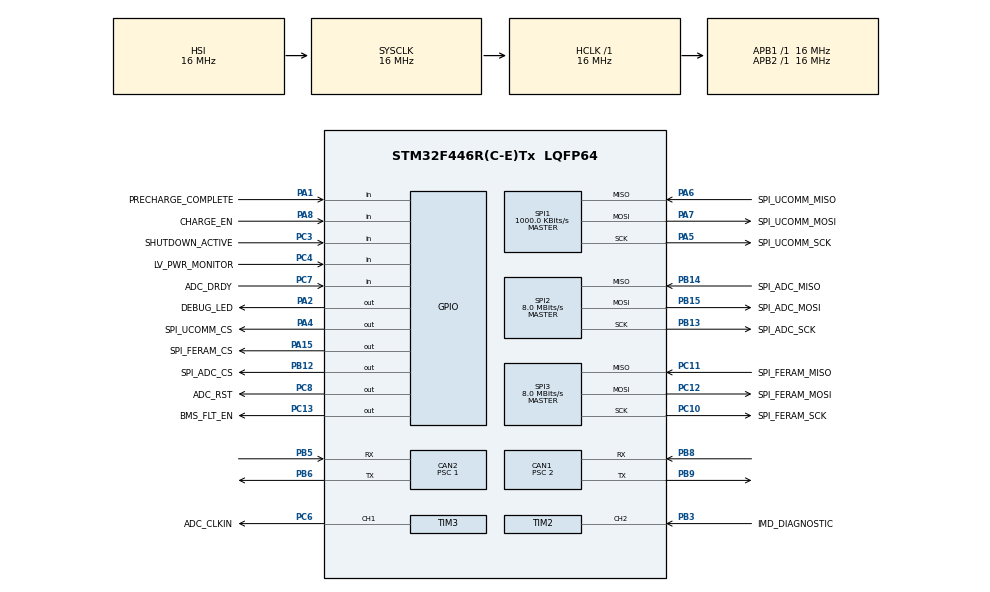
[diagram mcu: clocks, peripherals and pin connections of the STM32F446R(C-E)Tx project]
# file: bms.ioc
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CAN1.ABOM=ENABLE
CAN1.BS1=CAN_BS1_13TQ
CAN1.BS2=CAN_BS2_2TQ
CAN1.CalculateBaudRate=500000
CAN1.CalculateTimeBit=2000
CAN1.CalculateTimeQuantum=125.0
CAN1.Prescaler=2
CAN2.ABOM=ENABLE
CAN2.BS1=CAN_BS1_13TQ
CAN2.BS2=CAN_BS2_2TQ
CAN2.CalculateBaudRate=1000000
CAN2.CalculateTimeBit=1000
CAN2.CalculateTimeQuantum=62.5
CAN2.Prescaler=1
Mcu.Family=STM32F4
Mcu.Name=STM32F446R(C-E)Tx
Mcu.Package=LQFP64
NVIC.CAN1_RX0_IRQn=true\:2\:0\:true\:false\:true\:true\:true\:true
NVIC.PriorityGroup=NVIC_PRIORITYGROUP_4
NVIC.TIM1_UP_TIM10_IRQn=true\:0\:0\:true\:false\:true\:true\:true\:true
NVIC.TIM7_IRQn=true\:1\:0\:true\:false\:true\:true\:true\:true
NVIC.TIM8_UP_TIM13_IRQn=true\:3\:0\:true\:false\:true\:true\:true\:true
PA1.GPIO_Label=PRECHARGE_COMPLETE
PA1.Signal=GPIO_Input
PA13.GPIO_Label=SWDIO_TC
PA13.Mode=Serial_Wire
PA13.Signal=SYS_JTMS-SWDIO
PA14.GPIO_Label=SWCLK_TC
PA14.Mode=Serial_Wire
PA14.Signal=SYS_JTCK-SWCLK
PA15.GPIO_Label=SPI_FERAM_CS
PA15.Signal=GPIO_Output
PA2.GPIO_Label=DEBUG_LED
PA2.GPIO_Speed=GPIO_SPEED_FREQ_VERY_HIGH
PA2.PinState=GPIO_PIN_SET
PA2.Signal=GPIO_Output
PA4.GPIO_Label=SPI_UCOMM_CS
PA4.Signal=GPIO_Output
PA5.GPIO_Label=SPI_UCOMM_SCK
PA5.Mode=Full_Duplex_Master
PA5.Signal=SPI1_SCK
PA6.GPIO_Label=SPI_UCOMM_MISO
PA6.Mode=Full_Duplex_Master
PA6.Signal=SPI1_MISO
PA7.GPIO_Label=SPI_UCOMM_MOSI
PA7.Mode=Full_Duplex_Master
PA7.Signal=SPI1_MOSI
PA8.GPIO_Label=CHARGE_EN
PA8.Signal=GPIO_Input
PB12.GPIO_Label=SPI_ADC_CS
PB12.Signal=GPIO_Output
PB13.GPIO_Label=SPI_ADC_SCK
PB13.Mode=Full_Duplex_Master
PB13.Signal=SPI2_SCK
PB14.GPIO_Label=SPI_ADC_MISO
PB14.Mode=Full_Duplex_Master
PB14.Signal=SPI2_MISO
PB15.GPIO_Label=SPI_ADC_MOSI
PB15.Mode=Full_Duplex_Master
PB15.Signal=SPI2_MOSI
PB3.GPIO_Label=IMD_DIAGNOSTIC
PB3.Signal=S_TIM2_CH2
PB5.Mode=CAN_Activate
PB5.Signal=CAN2_RX
PB6.Mode=CAN_Activate
PB6.Signal=CAN2_TX
PB8.Mode=CAN_Activate
PB8.Signal=CAN1_RX
PB9.Mode=CAN_Activate
PB9.Signal=CAN1_TX
PC10.GPIO_Label=SPI_FERAM_SCK
PC10.Mode=Full_Duplex_Master
PC10.Signal=SPI3_SCK
PC11.GPIO_Label=SPI_FERAM_MISO
PC11.Mode=Full_Duplex_Master
PC11.Signal=SPI3_MISO
PC12.GPIO_Label=SPI_FERAM_MOSI
PC12.Mode=Full_Duplex_Master
PC12.Signal=SPI3_MOSI
PC13.GPIO_Label=BMS_FLT_EN
PC13.Signal=GPIO_Output
PC14-OSC32_IN.GPIO_Label=LSE_IN
PC14-OSC32_IN.Signal=RCC_OSC32_IN
PC15-OSC32_OUT.GPIO_Label=LSE_OUT
PC15-OSC32_OUT.Signal=RCC_OSC32_OUT
PC3.GPIO_Label=SHUTDOWN_ACTIVE
PC3.GPIO_PuPd=GPIO_NOPULL
PC3.Signal=GPIO_Input
PC4.GPIO_Label=LV_PWR_MONITOR
PC4.Signal=GPIO_Input
PC6.GPIO_Label=ADC_CLKIN
PC6.Signal=S_TIM3_CH1
PC7.GPIO_Label=ADC_DRDY
PC7.Signal=GPIO_Input
PC8.GPIO_Label=ADC_RST
PC8.PinState=GPIO_PIN_SET
PC8.Signal=GPIO_Output
PH0-OSC_IN.GPIO_Label=HSE_IN
PH0-OSC_IN.Signal=RCC_OSC_IN
PH1-OSC_OUT.GPIO_Label=HSE_OUT
PH1-OSC_OUT.Signal=RCC_OSC_OUT
ProjectManager.HeapSize=0x200
ProjectManager.StackSize=0x400
ProjectManager.TargetToolchain=STM32CubeIDE
RCC.AHBFreq_Value=16000000
RCC.APB1Freq_Value=16000000
RCC.APB1TimFreq_Value=16000000
RCC.APB2Freq_Value=16000000
RCC.APB2TimFreq_Value=16000000
RCC.CortexFreq_Value=16000000
RCC.HCLKFreq_Value=16000000
RCC.RCC_TIM_PRescaler_Selection=RCC_TIMPRES_DESACTIVATED
RCC.SYSCLKFreq_VALUE=16000000
RCC.USBFreq_Value=96000000
RCC.VCOOutputFreq_Value=192000000
SH.S_TIM2_CH2.0=TIM2_CH2,Input_Capture2_from_TI2
SH.S_TIM3_CH1.0=TIM3_CH1,PWM Generation1 CH1
SPI1.BaudRatePrescaler=SPI_BAUDRATEPRESCALER_16
SPI1.CLKPhase=SPI_PHASE_1EDGE
SPI1.CLKPolarity=SPI_POLARITY_LOW
SPI1.CalculateBaudRate=1000.0 KBits/s
SPI1.Direction=SPI_DIRECTION_2LINES
SPI1.Mode=SPI_MODE_MASTER
SPI1.VirtualType=VM_MASTER
SPI2.BaudRatePrescaler=SPI_BAUDRATEPRESCALER_2
SPI2.CLKPhase=SPI_PHASE_2EDGE
SPI2.CalculateBaudRate=8.0 MBits/s
SPI2.DataSize=SPI_DATASIZE_8BIT
SPI2.Direction=SPI_DIRECTION_2LINES
SPI2.Mode=SPI_MODE_MASTER
SPI2.VirtualType=VM_MASTER
SPI3.BaudRatePrescaler=SPI_BAUDRATEPRESCALER_2
SPI3.CalculateBaudRate=8.0 MBits/s
SPI3.Direction=SPI_DIRECTION_2LINES
SPI3.Mode=SPI_MODE_MASTER
SPI3.VirtualType=VM_MASTER
TIM1.AutoReloadPreload=TIM_AUTORELOAD_PRELOAD_ENABLE
TIM1.Period=62499
TIM1.Prescaler=1
TIM13.Period=64515
TIM13.Prescaler=495
TIM2.Channel-Input_Capture2_from_TI2=TIM_CHANNEL_2
TIM3.Channel-PWM\ Generation1\ CH1=TIM_CHANNEL_1
TIM3.Period=1
TIM3.Pulse-PWM\ Generation1\ CH1=1
TIM7.AutoReloadPreload=TIM_AUTORELOAD_PRELOAD_ENABLE
TIM7.Period=31999
VP_TIM13_VS_ClockSourceINT.Mode=Enable_Timer
VP_TIM1_VS_ClockSourceINT.Mode=Internal
VP_TIM3_VS_ClockSourceINT.Mode=Internal
VP_TIM7_VS_ClockSourceINT.Mode=Enable_Timer
board=custom

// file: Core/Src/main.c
/* USER CODE BEGIN Header */
/**
  ******************************************************************************
  * @file           : main.c
  * @brief          : Main program body
  ******************************************************************************
  * @attention
  *
  * Copyright (c) 2024 STMicroelectronics.
  * All rights reserved.
  *
  * This software is licensed under terms that can be found in the LICENSE file
  * in the root directory of this software component.
  * If no LICENSE file comes with this software, it is provided AS-IS.
  *
  ******************************************************************************
  */
/* USER CODE END Header */
#include "main.h"

/* USER CODE BEGIN Includes */
#include <math.h>
#include <stdbool.h>
#include <stdint.h>

#include "stm32f4xx.h"
#include "stm32f4xx_hal.h"

#include "BMSconfig.h"
#include "Fault.h"
#include "LTC6811.h"
#include "PackCalculations.h"
#include "SPI.h"
#include "isoADC.h"

#include "can_1.h"
#include "can_2.h"
#include "stm32f4xx_hal_can.h"
#include "stm32f4xx_hal_gpio.h"

/* USER CODE END Includes */

/* USER CODE BEGIN PD */
#define CHARGER_OUT_ID 0x405
#define CAN_RX_MAILBOX_SIZE 3

#define CHARGER_IN_ID 0x1806E5F4	// charger CAN ID is 0x1806E5F4
#define CHARGER_INFO_ID 0x700
#define CONSTANT_CAN_ENABLE 0

#define BMS_RX_MSG_ID 0x0300
#define BMS_RX_MSG_MASK 0x0F00

#define BALANCE_EN  0

// STM manual balancing
#define THRESHOLD_BALANCE_EN 0
#define DISCHARGE_THRESHOLD 65535 // well above cell max voltage LOOK AT ACTUAL FUNCTION CALL FOR THRESHOLD SETTING

// CAN Manual Balancing
#define MANUAL_BALANCING_ID 0x381 // TODO

// CAN transmit timeout (ms)
// Assuming a 0% bus load 500kbit/s CAN bus, 5ms would be enough time to send ~23 8 byte CAN messages
// If we hit the 5ms timeout without transmitting any pending messages, we're either at an extremely high bus load
// and losing arbitration or there's some other issue (bus disconnected, no termination, etc.)
#define CAN_TX_TIMEOUT 2

/* USER CODE END PD */

CAN_HandleTypeDef hcan1;
CAN_HandleTypeDef hcan2;

SPI_HandleTypeDef hspi1;
SPI_HandleTypeDef hspi2;
SPI_HandleTypeDef hspi3;

TIM_HandleTypeDef htim1;
TIM_HandleTypeDef htim2;
TIM_HandleTypeDef htim3;
TIM_HandleTypeDef htim7;
TIM_HandleTypeDef htim13;

/* USER CODE BEGIN PV */
SPI_HandleTypeDef *ltc_spi = &hspi1;

CAN_TxHeaderTypeDef tx_header;
volatile CAN_RxHeaderTypeDef rx_header;
uint8_t tx_data[8];
volatile uint8_t rx_data[8] = {0, 0, 0, 0, 0, 0, 0, 0};
uint32_t tx_mailbox;

CAN_TxHeaderTypeDef charger_tx_header;
uint8_t charger_tx_data[8];
uint8_t charge_rate = 2;
uint8_t global_error_count = 0;
uint8_t balance_counter = 0;
uint8_t charging_msg_timeout = 1;

int16_t poll_cell_temps = 0;
int16_t poll_cell_voltages = 0;

bool CHARGE_EN = 0;

CellData bmsData[NUM_CELLS];
static_assert(NUM_CELLS <= 144, "NUM_CELLS must not exceed array size");
uint8_t BMS_STATUS[6];
bool discharge[NUM_BOARDS][12];
bool full_discharge[NUM_BOARDS][12];

volatile manual_balancing_t manual_balancing_config;
volatile bool bmsFault;

SPI_HandleTypeDef* isoADC_SPI_ptr_g = &hspi2;
GPIO_TypeDef* isoADC_SPI_cs_port_ptr_g = SPI_ADC_CS_GPIO_Port;
uint16_t isoADC_SPI_cs_pin_g = GPIO_PIN_12;
TIM_HandleTypeDef* isoADC_PWM_ptr_g = &htim3;
uint32_t isoADC_PWM_ch_g = TIM_CHANNEL_1;
BMS_critical_info_t BMSCriticalInfo;
uint8_t isoADC_rdy_status = 0, isoADC_period_miss = 0, max_isoADC_period = 0;
uint32_t cell_volt_timing = 0, cell_temp_timing = 0, volt_start_time = 0, temp_start_time = 0;

volatile bool pollingFlag = false;
volatile uint8_t new_balance_msg = 0, can_tx_phase = 0;
volatile uint8_t balancing_data_array[8];

uint32_t prevTime = 0, timeBetween = 0;
int32_t fault_timer = 2000;
uint8_t error_cnt = 0, error_voltage_read_count = 0, error_temp_read_count = 0;

float live_pack_voltage = 0, live_pack_current = 0;
bool live_precharge = false;

/* USER CODE END PV */

void SystemClock_Config(void);
static void MX_GPIO_Init(void);
static void MX_CAN1_Init(void);
static void MX_SPI1_Init(void);
static void MX_SPI2_Init(void);
static void MX_SPI3_Init(void);
static void MX_TIM2_Init(void);
static void MX_TIM3_Init(void);
static void MX_CAN2_Init(void);
static void MX_TIM1_Init(void);
static void MX_TIM7_Init(void);
static void MX_TIM13_Init(void);
/* USER CODE BEGIN PFP */
static bool transmit_can_message(CAN_HandleTypeDef* hcan, const CAN_TxHeaderTypeDef *tx_header, const uint8_t msg_data[]);
static void transmit_cell_data_msg(CellData const bmsData[NUM_CELLS]);
static void transmit_bms_status_msg(BMS_critical_info_t const *bms, uint8_t const bmsStatus[6]);
static void transmit_cell_vlt_msg(BMS_critical_info_t const *bms);
static void transmit_cell_temp_msg(BMS_critical_info_t const *bms);
// void PACKSTAT_message(BMSConfigStructTypedef cfg, BMS_critical_info_t bms, uint8_t bmsData[NUM_CELLS][6]); // old method
// static void PACKSTAT_message(BMS_critical_info_t const *bms); // draft :D

// Manual Charging/Balancing Functions
void CHARGER_message();
void resetChargerVariables();
void process_balancing_msg();
/* USER CODE END PFP */

int main(void)
{

  /* MCU Configuration--------------------------------------------------------*/

  /* Reset of all peripherals, Initializes the Flash interface and the Systick. */
  HAL_Init();

  /* USER CODE BEGIN Init */
    BMSConfigStructTypedef BMSConfig;

  /* USER CODE END Init */

  /* Configure the system clock */
  SystemClock_Config();

  /* Initialize all configured peripherals */
  MX_GPIO_Init();
  MX_CAN1_Init();
  MX_SPI1_Init();
  MX_SPI2_Init();
  MX_SPI3_Init();
  MX_TIM2_Init();
  MX_TIM3_Init();
  MX_CAN2_Init();
  MX_TIM1_Init();
  MX_TIM7_Init();
  MX_TIM13_Init();
  /* USER CODE BEGIN 2 */
    initPECTable();
    loadConfig(&BMSConfig);
    init_BMS_info(&BMSCriticalInfo);
    resetChargerVariables();

    // wake up isoADC
    HAL_GPIO_WritePin(DEBUG_LED_GPIO_Port, DEBUG_LED_Pin, GPIO_PIN_RESET);
    isoADC_rdy_status = wakeup_isoADC(&gIsoADCConfig, &gIsoADCData);

    // turn on timer interrupt for isoADC 128Hz
    HAL_TIM_Base_Start_IT(&htim1);
    // Sending CAN messages
    HAL_TIM_Base_Start_IT(&htim7);
    // Sending cell polling message
    HAL_TIM_Base_Start_IT(&htim13);

  /* USER CODE END 2 */

  /* Infinite loop */
    while (1)
    {

    /* USER CODE BEGIN 3 */

        /** FUNCTION CALL OVERVIEW
         * First: Call read6811 -> Voltages, Temps on 6811
         * Second: Check for Faults
         * Third: Call balancing algorithm
         * Fourth : Remaining CAN messages
         * Last: :3
         */
    	if (poll_cell_voltages <= 0){
    		poll_cell_voltages = 1000;
    		volt_start_time = HAL_GetTick();

    		for (int i = 0; i < NUM_BOARDS; i++){
				poll_single_secondary_voltage_reading((uint8_t) i, &BMSConfig, bmsData);
			}
			cell_volt_timing = HAL_GetTick() - volt_start_time;

			setCriticalVoltages(&BMSCriticalInfo, bmsData);

			DISABLE_ALL_CAN_IRQS
			bmsFault = FAULT_check(&BMSCriticalInfo, BMS_STATUS);
			ENABLE_ALL_CAN_IRQS

			// check voltage faults
			bool overvoltage_fault	= ((BMS_STATUS[0] & 0x01) == 0x01);
			bool undervoltage_fault = ((BMS_STATUS[0] & 0x02) == 0x02);

			if((overvoltage_fault == true) || (undervoltage_fault == true)){
				error_voltage_read_count++;
			}

    	}

        // Read all Temps from LTC6811, store them in 144x6 array,
        // set the critical info struct, then send temp info over CAN
    	if (poll_cell_temps <= 0){
    		poll_cell_temps = 2500;
    		temp_start_time = HAL_GetTick();

    	for (int i = 0; i < NUM_BOARDS; i++){
    		poll_single_secondary_temp_reading((uint8_t) i, &BMSConfig, bmsData);
    	}
			cell_temp_timing = HAL_GetTick() - temp_start_time;
			setCriticalTemps(&BMSCriticalInfo, bmsData);

			DISABLE_ALL_CAN_IRQS
			bmsFault = FAULT_check(&BMSCriticalInfo, BMS_STATUS);
			ENABLE_ALL_CAN_IRQS

			// check temperature faults
			bool overtemp_fault		= ((BMS_STATUS[0] & 0x04) == 0x04);
			bool undertemp_fault	= ((BMS_STATUS[0] & 0x08) == 0x08);

			if((overtemp_fault == true) || (undertemp_fault == true)){
				error_temp_read_count++;
			}
		}

       // Check Precharge Complete Pin
       manual_balancing_config.precharge_cplt = !(HAL_GPIO_ReadPin(PRECHARGE_COMPLETE_GPIO_Port, PRECHARGE_COMPLETE_Pin));
       live_precharge = manual_balancing_config.precharge_cplt;
       DISABLE_ALL_CAN_IRQS

	   /* DO THIS WHEN TESTING BMS FAULTS*/
	   //*NOTE* : need to figure out which pin is the BMS fault pin
	   bmsFault = FAULT_check(&BMSCriticalInfo, BMS_STATUS);
       if (bmsFault == false) {
    	   global_error_count = 0;
    	   fault_timer = 2000;
    	   error_temp_read_count = 0;
    	   error_voltage_read_count = 0;
    	   HAL_GPIO_WritePin(BMS_FLT_EN_GPIO_Port, BMS_FLT_EN_Pin, GPIO_PIN_RESET);
       }
       else {
    	   global_error_count++;
    	   if ((error_temp_read_count >= 2) || (error_voltage_read_count >= 2)){
    		   HAL_GPIO_WritePin(BMS_FLT_EN_GPIO_Port, BMS_FLT_EN_Pin, GPIO_PIN_SET);
    		   error_temp_read_count = 2;
    		   error_voltage_read_count = 2;
    	   }
       }

        BMSCriticalInfo.isoAdcPackVoltage = (float)gIsoADCData.bus_voltage;
        BMSCriticalInfo.packCurrent = (float)gIsoADCData.shunt_current;
        ENABLE_ALL_CAN_IRQS
    	DISABLE_CAN1_RX_FIF0_IRQ;
        if(new_balance_msg == true){
        	process_balancing_msg();
        	new_balance_msg = 0;
        }
    	ENABLE_CAN1_RX_FIF0_IRQ;

    	/* Discharge cells if:
    	 * charge message is valid
    	 * AND discharge is enabled
    	 * AND precharge is complete (contactors are closed)
    	 * AND there is no BMS fault
    	 */
        if((manual_balancing_config.valid_charge_message == true) &&
			(manual_balancing_config.discharge_balance_en == true) &&
			(manual_balancing_config.precharge_cplt == true) &&
			(bmsFault == false)) {

            thresholdBalance(&BMSConfig, &BMSCriticalInfo, bmsData, discharge, manual_balancing_config.discharge_threshold_voltage, manual_balancing_config.num_cells_discharged_per_secondary);

            dischargeCellGroups(&BMSConfig, discharge);
            HAL_Delay(BMSConfig.dischargeTime);

            dischargeCellGroups(&BMSConfig, discharge);
            HAL_Delay(BMSConfig.dischargeTime);
        }
        else {
        	thresholdBalance(&BMSConfig, &BMSCriticalInfo, bmsData, discharge, 43000, 0);	// default to an "off" state, cells should never go this high
        }

        // stop messages from being sent if no message has been sent in 2 seconds
        if (charging_msg_timeout == 1) {
        	resetChargerVariables();
        }

    }

  /* USER CODE END 3 */
}

void SystemClock_Config(void)
{
  RCC_OscInitTypeDef RCC_OscInitStruct = {0};
  RCC_ClkInitTypeDef RCC_ClkInitStruct = {0};

  /** Configure the main internal regulator output voltage
  */
  __HAL_RCC_PWR_CLK_ENABLE();
  __HAL_PWR_VOLTAGESCALING_CONFIG(PWR_REGULATOR_VOLTAGE_SCALE3);

  /** Initializes the RCC Oscillators according to the specified parameters
  * in the RCC_OscInitTypeDef structure.
  */
  RCC_OscInitStruct.OscillatorType = RCC_OSCILLATORTYPE_HSI;
  RCC_OscInitStruct.HSIState = RCC_HSI_ON;
  RCC_OscInitStruct.HSICalibrationValue = RCC_HSICALIBRATION_DEFAULT;
  RCC_OscInitStruct.PLL.PLLState = RCC_PLL_NONE;
  if (HAL_RCC_OscConfig(&RCC_OscInitStruct) != HAL_OK)
  {
    Error_Handler();
  }

  /** Initializes the CPU, AHB and APB buses clocks
  */
  RCC_ClkInitStruct.ClockType = RCC_CLOCKTYPE_HCLK|RCC_CLOCKTYPE_SYSCLK
                              |RCC_CLOCKTYPE_PCLK1|RCC_CLOCKTYPE_PCLK2;
  RCC_ClkInitStruct.SYSCLKSource = RCC_SYSCLKSOURCE_HSI;
  RCC_ClkInitStruct.AHBCLKDivider = RCC_SYSCLK_DIV1;
  RCC_ClkInitStruct.APB1CLKDivider = RCC_HCLK_DIV1;
  RCC_ClkInitStruct.APB2CLKDivider = RCC_HCLK_DIV1;

  if (HAL_RCC_ClockConfig(&RCC_ClkInitStruct, FLASH_LATENCY_0) != HAL_OK)
  {
    Error_Handler();
  }
}

static void MX_CAN1_Init(void)
{

  hcan1.Instance = CAN1;
  hcan1.Init.Prescaler = 2;
  hcan1.Init.Mode = CAN_MODE_NORMAL;
  hcan1.Init.SyncJumpWidth = CAN_SJW_1TQ;
  hcan1.Init.TimeSeg1 = CAN_BS1_13TQ;
  hcan1.Init.TimeSeg2 = CAN_BS2_2TQ;
  hcan1.Init.TimeTriggeredMode = DISABLE;
  hcan1.Init.AutoBusOff = ENABLE;
  hcan1.Init.AutoWakeUp = DISABLE;
  hcan1.Init.AutoRetransmission = DISABLE;
  hcan1.Init.ReceiveFifoLocked = DISABLE;
  hcan1.Init.TransmitFifoPriority = DISABLE;
  if (HAL_CAN_Init(&hcan1) != HAL_OK)
  {
    Error_Handler();
  }
  /* USER CODE BEGIN CAN1_Init 2 */

	CAN_FilterTypeDef  sFilterConfig;
	sFilterConfig.FilterBank = 0;
	sFilterConfig.FilterMode = CAN_FILTERMODE_IDMASK;
	sFilterConfig.FilterScale = CAN_FILTERSCALE_16BIT;
	sFilterConfig.FilterIdHigh = BMS_RX_MSG_ID;
	sFilterConfig.FilterIdLow = 0xFFFF;
	sFilterConfig.FilterMaskIdHigh = BMS_RX_MSG_MASK;
	sFilterConfig.FilterMaskIdLow = 0x0000; // (any uint16_t) & 0x0000 != 0xFFFF
	sFilterConfig.FilterFIFOAssignment = CAN_FILTER_FIFO0;
	sFilterConfig.FilterActivation = ENABLE;
	sFilterConfig.SlaveStartFilterBank = 14;

	if (HAL_CAN_ConfigFilter(&hcan1, &sFilterConfig) != HAL_OK)
	{
	  /* Filter configuration Error */
	  Error_Handler();
	}

  if (HAL_CAN_Start(&hcan1) != HAL_OK)
  {
	/* Start Error */
	Error_Handler();
  }

  // This ties the interupt to the rx_fifo0 msg bufer
  if (HAL_CAN_ActivateNotification(&hcan1, CAN_IT_RX_FIFO0_MSG_PENDING) != HAL_OK)
   {
     Error_Handler();
   }
  /* USER CODE END CAN1_Init 2 */

}

static void MX_CAN2_Init(void)
{

  hcan2.Instance = CAN2;
  hcan2.Init.Prescaler = 1;
  hcan2.Init.Mode = CAN_MODE_NORMAL;
  hcan2.Init.SyncJumpWidth = CAN_SJW_1TQ;
  hcan2.Init.TimeSeg1 = CAN_BS1_13TQ;
  hcan2.Init.TimeSeg2 = CAN_BS2_2TQ;
  hcan2.Init.TimeTriggeredMode = DISABLE;
  hcan2.Init.AutoBusOff = ENABLE;
  hcan2.Init.AutoWakeUp = DISABLE;
  hcan2.Init.AutoRetransmission = DISABLE;
  hcan2.Init.ReceiveFifoLocked = DISABLE;
  hcan2.Init.TransmitFifoPriority = DISABLE;
  if (HAL_CAN_Init(&hcan2) != HAL_OK)
  {
    Error_Handler();
  }

}

static void MX_SPI1_Init(void)
{

  /* SPI1 parameter configuration*/
  hspi1.Instance = SPI1;
  hspi1.Init.Mode = SPI_MODE_MASTER;
  hspi1.Init.Direction = SPI_DIRECTION_2LINES;
  hspi1.Init.DataSize = SPI_DATASIZE_8BIT;
  hspi1.Init.CLKPolarity = SPI_POLARITY_LOW;
  hspi1.Init.CLKPhase = SPI_PHASE_1EDGE;
  hspi1.Init.NSS = SPI_NSS_SOFT;
  hspi1.Init.BaudRatePrescaler = SPI_BAUDRATEPRESCALER_16;
  hspi1.Init.FirstBit = SPI_FIRSTBIT_MSB;
  hspi1.Init.TIMode = SPI_TIMODE_DISABLE;
  hspi1.Init.CRCCalculation = SPI_CRCCALCULATION_DISABLE;
  hspi1.Init.CRCPolynomial = 10;
  if (HAL_SPI_Init(&hspi1) != HAL_OK)
  {
    Error_Handler();
  }

}

static void MX_SPI2_Init(void)
{

  /* SPI2 parameter configuration*/
  hspi2.Instance = SPI2;
  hspi2.Init.Mode = SPI_MODE_MASTER;
  hspi2.Init.Direction = SPI_DIRECTION_2LINES;
  hspi2.Init.DataSize = SPI_DATASIZE_8BIT;
  hspi2.Init.CLKPolarity = SPI_POLARITY_LOW;
  hspi2.Init.CLKPhase = SPI_PHASE_2EDGE;
  hspi2.Init.NSS = SPI_NSS_SOFT;
  hspi2.Init.BaudRatePrescaler = SPI_BAUDRATEPRESCALER_2;
  hspi2.Init.FirstBit = SPI_FIRSTBIT_MSB;
  hspi2.Init.TIMode = SPI_TIMODE_DISABLE;
  hspi2.Init.CRCCalculation = SPI_CRCCALCULATION_DISABLE;
  hspi2.Init.CRCPolynomial = 10;
  if (HAL_SPI_Init(&hspi2) != HAL_OK)
  {
    Error_Handler();
  }

}

static void MX_SPI3_Init(void)
{

  /* SPI3 parameter configuration*/
  hspi3.Instance = SPI3;
  hspi3.Init.Mode = SPI_MODE_MASTER;
  hspi3.Init.Direction = SPI_DIRECTION_2LINES;
  hspi3.Init.DataSize = SPI_DATASIZE_8BIT;
  hspi3.Init.CLKPolarity = SPI_POLARITY_LOW;
  hspi3.Init.CLKPhase = SPI_PHASE_1EDGE;
  hspi3.Init.NSS = SPI_NSS_SOFT;
  hspi3.Init.BaudRatePrescaler = SPI_BAUDRATEPRESCALER_2;
  hspi3.Init.FirstBit = SPI_FIRSTBIT_MSB;
  hspi3.Init.TIMode = SPI_TIMODE_DISABLE;
  hspi3.Init.CRCCalculation = SPI_CRCCALCULATION_DISABLE;
  hspi3.Init.CRCPolynomial = 10;
  if (HAL_SPI_Init(&hspi3) != HAL_OK)
  {
    Error_Handler();
  }

}

static void MX_TIM1_Init(void)
{

  TIM_ClockConfigTypeDef sClockSourceConfig = {0};
  TIM_MasterConfigTypeDef sMasterConfig = {0};

  htim1.Instance = TIM1;
  htim1.Init.Prescaler = 1;
  htim1.Init.CounterMode = TIM_COUNTERMODE_UP;
  htim1.Init.Period = 62499;
  htim1.Init.ClockDivision = TIM_CLOCKDIVISION_DIV1;
  htim1.Init.RepetitionCounter = 0;
  htim1.Init.AutoReloadPreload = TIM_AUTORELOAD_PRELOAD_ENABLE;
  if (HAL_TIM_Base_Init(&htim1) != HAL_OK)
  {
    Error_Handler();
  }
  sClockSourceConfig.ClockSource = TIM_CLOCKSOURCE_INTERNAL;
  if (HAL_TIM_ConfigClockSource(&htim1, &sClockSourceConfig) != HAL_OK)
  {
    Error_Handler();
  }
  sMasterConfig.MasterOutputTrigger = TIM_TRGO_RESET;
  sMasterConfig.MasterSlaveMode = TIM_MASTERSLAVEMODE_DISABLE;
  if (HAL_TIMEx_MasterConfigSynchronization(&htim1, &sMasterConfig) != HAL_OK)
  {
    Error_Handler();
  }

}

static void MX_TIM2_Init(void)
{

  TIM_MasterConfigTypeDef sMasterConfig = {0};
  TIM_IC_InitTypeDef sConfigIC = {0};

  htim2.Instance = TIM2;
  htim2.Init.Prescaler = 0;
  htim2.Init.CounterMode = TIM_COUNTERMODE_UP;
  htim2.Init.Period = 4294967295;
  htim2.Init.ClockDivision = TIM_CLOCKDIVISION_DIV1;
  htim2.Init.AutoReloadPreload = TIM_AUTORELOAD_PRELOAD_DISABLE;
  if (HAL_TIM_IC_Init(&htim2) != HAL_OK)
  {
    Error_Handler();
  }
  sMasterConfig.MasterOutputTrigger = TIM_TRGO_RESET;
  sMasterConfig.MasterSlaveMode = TIM_MASTERSLAVEMODE_DISABLE;
  if (HAL_TIMEx_MasterConfigSynchronization(&htim2, &sMasterConfig) != HAL_OK)
  {
    Error_Handler();
  }
  sConfigIC.ICPolarity = TIM_INPUTCHANNELPOLARITY_RISING;
  sConfigIC.ICSelection = TIM_ICSELECTION_DIRECTTI;
  sConfigIC.ICPrescaler = TIM_ICPSC_DIV1;
  sConfigIC.ICFilter = 0;
  if (HAL_TIM_IC_ConfigChannel(&htim2, &sConfigIC, TIM_CHANNEL_2) != HAL_OK)
  {
    Error_Handler();
  }

}

static void MX_TIM3_Init(void)
{

  TIM_ClockConfigTypeDef sClockSourceConfig = {0};
  TIM_MasterConfigTypeDef sMasterConfig = {0};
  TIM_OC_InitTypeDef sConfigOC = {0};

  htim3.Instance = TIM3;
  htim3.Init.Prescaler = 0;
  htim3.Init.CounterMode = TIM_COUNTERMODE_UP;
  htim3.Init.Period = 1;
  htim3.Init.ClockDivision = TIM_CLOCKDIVISION_DIV1;
  htim3.Init.AutoReloadPreload = TIM_AUTORELOAD_PRELOAD_DISABLE;
  if (HAL_TIM_Base_Init(&htim3) != HAL_OK)
  {
    Error_Handler();
  }
  sClockSourceConfig.ClockSource = TIM_CLOCKSOURCE_INTERNAL;
  if (HAL_TIM_ConfigClockSource(&htim3, &sClockSourceConfig) != HAL_OK)
  {
    Error_Handler();
  }
  if (HAL_TIM_PWM_Init(&htim3) != HAL_OK)
  {
    Error_Handler();
  }
  sMasterConfig.MasterOutputTrigger = TIM_TRGO_RESET;
  sMasterConfig.MasterSlaveMode = TIM_MASTERSLAVEMODE_DISABLE;
  if (HAL_TIMEx_MasterConfigSynchronization(&htim3, &sMasterConfig) != HAL_OK)
  {
    Error_Handler();
  }
  sConfigOC.OCMode = TIM_OCMODE_PWM1;
  sConfigOC.Pulse = 1;
  sConfigOC.OCPolarity = TIM_OCPOLARITY_HIGH;
  sConfigOC.OCFastMode = TIM_OCFAST_DISABLE;
  if (HAL_TIM_PWM_ConfigChannel(&htim3, &sConfigOC, TIM_CHANNEL_1) != HAL_OK)
  {
    Error_Handler();
  }
  HAL_TIM_MspPostInit(&htim3);

}

static void MX_TIM7_Init(void)
{

  TIM_MasterConfigTypeDef sMasterConfig = {0};

  htim7.Instance = TIM7;
  htim7.Init.Prescaler = 0;
  htim7.Init.CounterMode = TIM_COUNTERMODE_UP;
  htim7.Init.Period = 31999;
  htim7.Init.AutoReloadPreload = TIM_AUTORELOAD_PRELOAD_ENABLE;
  if (HAL_TIM_Base_Init(&htim7) != HAL_OK)
  {
    Error_Handler();
  }
  sMasterConfig.MasterOutputTrigger = TIM_TRGO_RESET;
  sMasterConfig.MasterSlaveMode = TIM_MASTERSLAVEMODE_DISABLE;
  if (HAL_TIMEx_MasterConfigSynchronization(&htim7, &sMasterConfig) != HAL_OK)
  {
    Error_Handler();
  }

}

static void MX_TIM13_Init(void)
{

  htim13.Instance = TIM13;
  htim13.Init.Prescaler = 495;
  htim13.Init.CounterMode = TIM_COUNTERMODE_UP;
  htim13.Init.Period = 64515;
  htim13.Init.ClockDivision = TIM_CLOCKDIVISION_DIV1;
  htim13.Init.AutoReloadPreload = TIM_AUTORELOAD_PRELOAD_DISABLE;
  if (HAL_TIM_Base_Init(&htim13) != HAL_OK)
  {
    Error_Handler();
  }

}

static void MX_GPIO_Init(void)
{
  GPIO_InitTypeDef GPIO_InitStruct = {0};

  /* GPIO Ports Clock Enable */
  __HAL_RCC_GPIOC_CLK_ENABLE();
  __HAL_RCC_GPIOH_CLK_ENABLE();
  __HAL_RCC_GPIOA_CLK_ENABLE();
  __HAL_RCC_GPIOB_CLK_ENABLE();

  /*Configure GPIO pin Output Level */
  HAL_GPIO_WritePin(BMS_FLT_EN_GPIO_Port, BMS_FLT_EN_Pin, GPIO_PIN_RESET);

  /*Configure GPIO pin Output Level */
  HAL_GPIO_WritePin(DEBUG_LED_GPIO_Port, DEBUG_LED_Pin, GPIO_PIN_SET);

  /*Configure GPIO pin Output Level */
  HAL_GPIO_WritePin(GPIOA, SPI_UCOMM_CS_Pin|SPI_FERAM_CS_Pin, GPIO_PIN_RESET);

  /*Configure GPIO pin Output Level */
  HAL_GPIO_WritePin(SPI_ADC_CS_GPIO_Port, SPI_ADC_CS_Pin, GPIO_PIN_RESET);

  /*Configure GPIO pin Output Level */
  HAL_GPIO_WritePin(ADC_RST_GPIO_Port, ADC_RST_Pin, GPIO_PIN_SET);

  /*Configure GPIO pins : BMS_FLT_EN_Pin ADC_RST_Pin */
  GPIO_InitStruct.Pin = BMS_FLT_EN_Pin|ADC_RST_Pin;
  GPIO_InitStruct.Mode = GPIO_MODE_OUTPUT_PP;
  GPIO_InitStruct.Pull = GPIO_NOPULL;
  GPIO_InitStruct.Speed = GPIO_SPEED_FREQ_LOW;
  HAL_GPIO_Init(GPIOC, &GPIO_InitStruct);

  /*Configure GPIO pins : SHUTDOWN_ACTIVE_Pin LV_PWR_MONITOR_Pin ADC_DRDY_Pin */
  GPIO_InitStruct.Pin = SHUTDOWN_ACTIVE_Pin|LV_PWR_MONITOR_Pin|ADC_DRDY_Pin;
  GPIO_InitStruct.Mode = GPIO_MODE_INPUT;
  GPIO_InitStruct.Pull = GPIO_NOPULL;
  HAL_GPIO_Init(GPIOC, &GPIO_InitStruct);

  /*Configure GPIO pin : PRECHARGE_COMPLETE_Pin */
  GPIO_InitStruct.Pin = PRECHARGE_COMPLETE_Pin;
  GPIO_InitStruct.Mode = GPIO_MODE_INPUT;
  GPIO_InitStruct.Pull = GPIO_PULLUP;
  HAL_GPIO_Init(PRECHARGE_COMPLETE_GPIO_Port, &GPIO_InitStruct);

  /*Configure GPIO pin : DEBUG_LED_Pin */
  GPIO_InitStruct.Pin = DEBUG_LED_Pin;
  GPIO_InitStruct.Mode = GPIO_MODE_OUTPUT_PP;
  GPIO_InitStruct.Pull = GPIO_NOPULL;
  GPIO_InitStruct.Speed = GPIO_SPEED_FREQ_VERY_HIGH;
  HAL_GPIO_Init(DEBUG_LED_GPIO_Port, &GPIO_InitStruct);

  /*Configure GPIO pins : SPI_UCOMM_CS_Pin SPI_FERAM_CS_Pin */
  GPIO_InitStruct.Pin = SPI_UCOMM_CS_Pin|SPI_FERAM_CS_Pin;
  GPIO_InitStruct.Mode = GPIO_MODE_OUTPUT_PP;
  GPIO_InitStruct.Pull = GPIO_NOPULL;
  GPIO_InitStruct.Speed = GPIO_SPEED_FREQ_LOW;
  HAL_GPIO_Init(GPIOA, &GPIO_InitStruct);

  /*Configure GPIO pin : SPI_ADC_CS_Pin */
  GPIO_InitStruct.Pin = SPI_ADC_CS_Pin;
  GPIO_InitStruct.Mode = GPIO_MODE_OUTPUT_PP;
  GPIO_InitStruct.Pull = GPIO_NOPULL;
  GPIO_InitStruct.Speed = GPIO_SPEED_FREQ_LOW;
  HAL_GPIO_Init(SPI_ADC_CS_GPIO_Port, &GPIO_InitStruct);

  /*Configure GPIO pin : CHARGE_EN_Pin */
  GPIO_InitStruct.Pin = CHARGE_EN_Pin;
  GPIO_InitStruct.Mode = GPIO_MODE_INPUT;
  GPIO_InitStruct.Pull = GPIO_NOPULL;
  HAL_GPIO_Init(CHARGE_EN_GPIO_Port, &GPIO_InitStruct);

}

/* USER CODE BEGIN 4 */
void HAL_CAN_RxFifo0MsgPendingCallback(CAN_HandleTypeDef *hcan){
	HAL_CAN_GetRxMessage(hcan, CAN_RX_FIFO0, (CAN_RxHeaderTypeDef *) &rx_header, (uint8_t*) rx_data);

	switch(rx_header.StdId){
		case CAN_1_CPU_BMS_VIEWER_POLL_ID:
			pollingFlag = true;
			break;
		case MANUAL_BALANCING_ID:
			new_balance_msg = 1;
			for(int i = 0; i < rx_header.DLC; i++){
				balancing_data_array[i] = rx_data[i];
			}
			break;
		default:
			break;
	}
}

void HAL_TIM_PeriodElapsedCallback(TIM_HandleTypeDef *htim) {
	if(htim == &htim1){
		HAL_GPIO_WritePin(DEBUG_LED_GPIO_Port, DEBUG_LED_Pin, GPIO_PIN_SET);

		uint32_t new_t = HAL_GetTick();
		timeBetween = new_t - prevTime;
		if(timeBetween >= 11){
			isoADC_period_miss++;
			if(timeBetween > max_isoADC_period){
				max_isoADC_period = (uint8_t) timeBetween;
			}
		}

		prevTime = new_t;
		isoADC_rdy_status = read_isoADC_ADCs(&gIsoADCConfig, &gIsoADCData);
		error_cnt += (uint8_t) (gIsoADCData.ch0_drdy ? 0 : 1);
		convert_raw_to_actual(&gIsoADCConfig, &gIsoADCData);
		BMSCriticalInfo.isoAdcPackVoltage = (float)gIsoADCData.bus_voltage;
		BMSCriticalInfo.packCurrent = (float)gIsoADCData.shunt_current;
		live_pack_voltage = BMSCriticalInfo.isoAdcPackVoltage;
		live_pack_current = BMSCriticalInfo.packCurrent;
		transmit_bms_status_msg(&BMSCriticalInfo, BMS_STATUS);
		HAL_GPIO_WritePin(DEBUG_LED_GPIO_Port, DEBUG_LED_Pin, GPIO_PIN_RESET);

	}
}

void send_can_msg_from_irq(){
	can_tx_phase++;
	switch(can_tx_phase){
		case 1:
			transmit_cell_vlt_msg(&BMSCriticalInfo);
			break;
		case 2:
//			transmit_bms_status_msg(&BMSCriticalInfo, BMS_STATUS);
			break;
		case 3:
			transmit_cell_temp_msg(&BMSCriticalInfo);
			break;
		case 4:
			if ((manual_balancing_config.valid_charge_message == true) &&
				(manual_balancing_config.charge_en == true) &&
				(!bmsFault == true)) {
				CHARGER_message();
			}
			break;
		case 5:
			can_tx_phase = 0;
			break;
	}
}

void send_cell_vals_polling(){
	// Reread 391 to see if this is bad
	DISABLE_ALL_CAN_IRQS
	if (pollingFlag || CONSTANT_CAN_ENABLE){
		transmit_cell_data_msg(bmsData);
		pollingFlag = false;
	}
	charging_msg_timeout = 1;
	ENABLE_ALL_CAN_IRQS
}

static bool transmit_can_message(CAN_HandleTypeDef* hcan, const CAN_TxHeaderTypeDef *tx_header, const uint8_t msg_data[]) {
    uint32_t can_error_code = HAL_CAN_GetError(hcan);

    // If we're in bus off or error passive, skip the 5ms timeout (but try to transmit anyway)
    if (!(can_error_code & (HAL_CAN_ERROR_BOF | HAL_CAN_ERROR_EPV))) {
        // Bus OK - wait for up to 5ms for space to become available in the transmit mailboxes
        uint32_t start_tick = HAL_GetTick();
        while(HAL_CAN_GetTxMailboxesFreeLevel(hcan) == 0 && HAL_GetTick() - start_tick < CAN_TX_TIMEOUT) {}
    }

    return HAL_CAN_AddTxMessage(hcan, tx_header, msg_data, &tx_mailbox) == HAL_OK;
}

static void transmit_cell_data_msg(CellData const bmsData[NUM_CELLS]) {
    CAN_TxHeaderTypeDef header = {
        .StdId = CAN_1_BMS_CELL_DATA_ID,
        .DLC = CAN_1_BMS_CELL_DATA_LENGTH,
        .IDE = CAN_ID_STD,
        .RTR = CAN_RTR_DATA,
        .TransmitGlobalTime = DISABLE
    };

    uint8_t data[CAN_1_BMS_CELL_DATA_LENGTH];
    struct can_1_bms_cell_data cell_data_msg = {};

    for (uint8_t cell = 0; cell < NUM_CELLS; cell++) {
        cell_data_msg.idx_cell_data = cell;

        cell_data_msg.vlt_cell_data = (float)bmsData[cell].voltage / LTC6811_ADC_LSB_PER_V;
        cell_data_msg.temp_cell_data = (float)bmsData[cell].temperature / 1000.0F;
        // TODO: remove placeholder values after merging SOC estimation branch
        cell_data_msg.soc_cell_data = 0.0F;
        cell_data_msg.soh_cell_data = 0.0F;

        // TODO: make bmsData[cell].fault a bitfield
        cell_data_msg.cell_fault_disconnected = (bool)(bmsData[cell].fault & CELL_DISCONNECT_MASK);
        cell_data_msg.cell_fault_dc = (bool)(bmsData[cell].fault & CELL_DCFAULT_MASK);
        cell_data_msg.cell_fault_temp = (bool)(bmsData[cell].fault & CELL_TEMP_FAIL_MASK);
        cell_data_msg.cell_fault_pec = (bool)(bmsData[cell].fault & CELL_PEC_FAIL_MASK);

        can_1_bms_cell_data_pack(data, &cell_data_msg, sizeof(data));
        transmit_can_message(&hcan1, &header, data);
    }
}

static void transmit_bms_status_msg(BMS_critical_info_t const *bms, uint8_t const bmsStatus[6]) {
    // canCounter2++;
    CAN_TxHeaderTypeDef header = {
        .StdId = CAN_1_BMS_STATUS_ID,
        .DLC = CAN_1_BMS_STATUS_LENGTH,
        .IDE = CAN_ID_STD,
        .RTR = CAN_RTR_DATA,
        .TransmitGlobalTime = DISABLE
    };

    uint8_t data[CAN_1_BMS_STATUS_LENGTH];
    struct can_1_bms_status status_msg = {
        .soc_accum = 0.0F,
        .cur_accum = (float)bms->packCurrent,
        .vlt_accum = (float)bms->isoAdcPackVoltage,
		.vlt_accum_6811 = (float)bms->cellMonitorPackVoltage / 10.0F,

        // TODO: refactor tf out of this lol
        .bms_fault_ovp = bmsStatus[0] & 0x01,
        .bms_fault_uvp = bmsStatus[0] & 0x02,
        .bms_fault_otp = bmsStatus[0] & 0x04,
        .bms_fault_utp = bmsStatus[0] & 0x08,

        // TODO: do we really not read this anywhere else in code? also active high/low?
        .precharge_cplt = !(HAL_GPIO_ReadPin(PRECHARGE_COMPLETE_GPIO_Port, PRECHARGE_COMPLETE_Pin))
    };

    can_1_bms_status_pack(data, &status_msg, sizeof(data));
    transmit_can_message(&hcan1, &header, data);
}

static void transmit_cell_vlt_msg(BMS_critical_info_t const *bms) {
    CAN_TxHeaderTypeDef header = {
        .StdId = CAN_1_BMS_CELL_VLT_ID,
        .DLC = CAN_1_BMS_CELL_VLT_LENGTH,
        .IDE = CAN_ID_STD,
        .RTR = CAN_RTR_DATA,
        .TransmitGlobalTime = DISABLE
    };

    uint8_t data[CAN_1_BMS_CELL_VLT_LENGTH];
    struct can_1_bms_cell_vlt cell_vlt_msg = {
        .vlt_cell_max = (float)bms->curr_max_voltage / LTC6811_ADC_LSB_PER_V,
        .vlt_cell_min = (float)bms->curr_min_voltage / LTC6811_ADC_LSB_PER_V,
        // TODO: make cell indices consistent
        .idx_vlt_max = bms->max_volt_cell,
        .idx_vlt_min = bms->min_volt_cell
    };

    can_1_bms_cell_vlt_pack(data, &cell_vlt_msg, sizeof(data));
    transmit_can_message(&hcan1, &header, data);
}

static void transmit_cell_temp_msg(BMS_critical_info_t const *bms) {
    CAN_TxHeaderTypeDef header = {
        .StdId = CAN_1_BMS_CELL_TEMP_ID,
        .DLC = CAN_1_BMS_CELL_TEMP_LENGTH,
        .IDE = CAN_ID_STD,
        .RTR = CAN_RTR_DATA,
        .TransmitGlobalTime = DISABLE
    };

    uint8_t data[CAN_1_BMS_CELL_TEMP_LENGTH];
    struct can_1_bms_cell_temp cell_temp_msg = {
        // TODO
        .temp_cell_max = (float)bms->curr_max_temp / 1000.0F,
        .temp_cell_min = (float)bms->curr_min_temp / 1000.0F,
        // TODO: make cell indices consistent
        .idx_temp_max = bms->max_temp_cell,
        .idx_temp_min = bms->min_temp_cell
    };

    can_1_bms_cell_temp_pack(data, &cell_temp_msg, sizeof(data));
    transmit_can_message(&hcan1, &header, data);

    // TODO: wtf does this do?? 2024 accumulator fans?
    // Insert PWM code
    // if ((maxT < 17400) || bmsFault) {
    //     HAL_GPIO_WritePin(GPIOA, GPIO_PIN_2, GPIO_PIN_RESET);
    // } else {
    //     HAL_GPIO_WritePin(GPIOA, GPIO_PIN_2, GPIO_PIN_SET);
    //     // HAL_GPIO_TogglePin(DEBUG_GPIO_Port, DEBUG_Pin);	// which PIN is this?
    // }
}

void CHARGER_message() {
	tx_header.StdId = 0;  // Set to 0 for extended IDs
	tx_header.ExtId = CHARGER_IN_ID; // Set your 29-bit ID
	tx_header.DLC = 8;				// set command length
	tx_header.IDE = CAN_ID_EXT;       // Set to extended ID

	uint8_t CHARGER_DATA[8];

	if ((manual_balancing_config.charge_en == true) &&
		(manual_balancing_config.valid_charge_message == true) &&
		(manual_balancing_config.precharge_cplt == true)) {
		CHARGER_DATA[0] = (uint8_t)((manual_balancing_config.charge_voltage >> 8) & 0xFF);
		CHARGER_DATA[1] = (uint8_t)(manual_balancing_config.charge_voltage & 0xFF);
		CHARGER_DATA[2] = (uint8_t)((manual_balancing_config.charge_current >> 8) & 0xFF);
		CHARGER_DATA[3] = (uint8_t)(manual_balancing_config.charge_current & 0xFF);
	}
	else {
		return;	// abort send
	}

    /* these data bytes are not used */
	CHARGER_DATA[4] = 0x00;
	CHARGER_DATA[5] = 0x00;
	CHARGER_DATA[6] = 0x00;
	CHARGER_DATA[7] = 0x00;

    transmit_can_message(&hcan1, &tx_header, CHARGER_DATA);

    // reset to normal
	tx_header.StdId = 0;  // Set to 0 for extended IDs
	tx_header.ExtId = 0; // Set your 29-bit ID
	tx_header.DLC = 8;				// set command length
	tx_header.IDE = CAN_ID_STD;       // Set to extended ID
}

// reset all variables to default
void resetChargerVariables() {
	manual_balancing_config.charge_en = false;		// disable charge
	manual_balancing_config.charge_voltage = 6000;	// 600V
	manual_balancing_config.charge_current = 0;		// 0A

	manual_balancing_config.discharge_balance_en = false;	// disable discharge balance
	manual_balancing_config.num_cells_discharged_per_secondary = 0;	// no cells to be discharged
	manual_balancing_config.discharge_threshold_voltage = 41600;	// 4.16V

	manual_balancing_config.valid_charge_message = false;	// assume invalid message
}

void process_balancing_msg(){
	manual_balancing_config.charge_en = (balancing_data_array[0] == 0xFF);
	manual_balancing_config.charge_voltage = ((balancing_data_array[1] << 8) | (balancing_data_array[2]));
	manual_balancing_config.charge_current = ((balancing_data_array[3] << 8) | (balancing_data_array[4]));

	manual_balancing_config.discharge_balance_en = (balancing_data_array[5] & 0xF0) == 0xF0;
	manual_balancing_config.num_cells_discharged_per_secondary = (balancing_data_array[5] & 0x0F);
	manual_balancing_config.discharge_threshold_voltage = ((balancing_data_array[6] << 8) | (balancing_data_array[7]));

	// check for validity

	// if both charge and balance are enabled, invalid message
	if ((manual_balancing_config.charge_en == true) && (manual_balancing_config.discharge_balance_en == true)) {
	  manual_balancing_config.valid_charge_message = false;
	  resetChargerVariables();
	}

	// if charge is enabled AND if charge voltage is out of bounds [500-600][V]
	// multiplied by 10 -> [5000 - 6000]
	if ((manual_balancing_config.charge_en == true) && ((manual_balancing_config.charge_voltage < 5000) || (manual_balancing_config.charge_voltage > 6000))) {
	  manual_balancing_config.valid_charge_message = false;
	  resetChargerVariables();
	}

	// if charge is enabled AND if charge current is out of bounds [0-10][A]
	// multiplied by 10 -> [0 - 100]
	if ((manual_balancing_config.charge_en == true) && (manual_balancing_config.charge_current > 100)) {
	  manual_balancing_config.valid_charge_message = false;
	  resetChargerVariables();
	}

	// if cell discharge count is out of bounds
	if ((manual_balancing_config.discharge_balance_en == true) && (manual_balancing_config.num_cells_discharged_per_secondary > 12)) {
	  manual_balancing_config.valid_charge_message = false;
	  resetChargerVariables();
	}

	// if discharge is enabled AND if discharge cell threshold is out of bounds [3.2-4.2][V]
	// multiplied by 10,000 -> [32000 - 42000]
	if ((manual_balancing_config.discharge_balance_en == true) && ((manual_balancing_config.discharge_threshold_voltage < 32000) || (manual_balancing_config.discharge_threshold_voltage > 42000))) {
	  manual_balancing_config.valid_charge_message = false;
	  resetChargerVariables();
	}

	// if all conditions passed, charge message is true
	manual_balancing_config.valid_charge_message = true;
	charging_msg_timeout = 0;

}

/* USER CODE END 4 */

void Error_Handler(void)
{
  __disable_irq();
  while (1)
  {
  }
}
